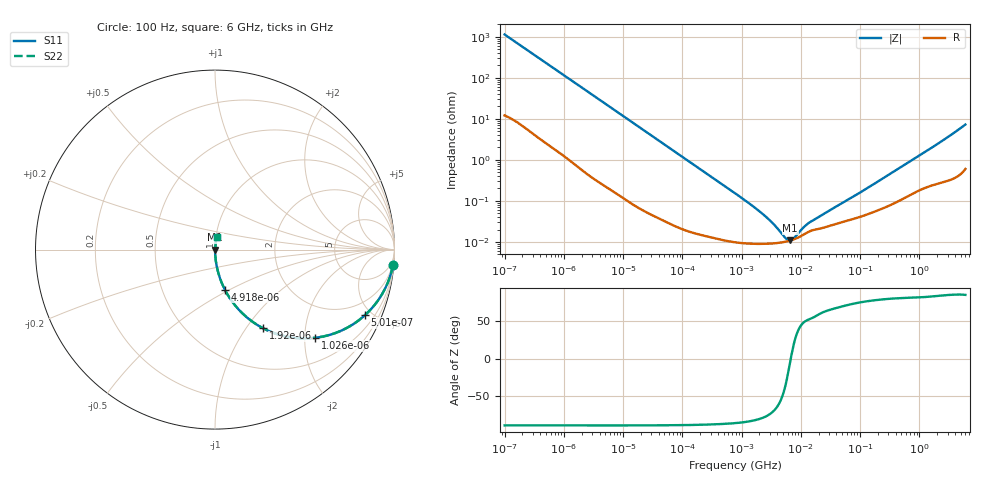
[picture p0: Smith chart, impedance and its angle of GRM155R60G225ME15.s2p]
!Murata Part Number: GRM155R60G225ME15
!These Parameters are Measured in Series Mode Connection
!Data Generated on Mar 30, 2021
!  o--ll--o
!Port1  Port2
!  o------o
!Operation Temp=25[degC], DC Bias Voltage=0[V]
!Freq. Start=100[Hz] Stop=6[GHz] 401[Steps]
# Hz S RI R 50
!Freq.(Hz) S11(Real) S11(Imag) S21(Real) S21(Imag) S12(Real) S12(Imag) S22(Real) S22(Imag)
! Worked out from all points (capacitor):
!   401 points, 100 Hz to 6 GHz, reference 50 ohm
!   read as one part in series: C = 1.4 uF near 109 Hz
!   lowest |Z| = 10.8 mohm at 6.644 MHz (marker M1)
!   series resonance near 6.773 MHz, so ESL is about 390 pH
!   S11 on the Smith chart (normalised r, x): 100 Hz: 1, -23; 501 Hz: 1.05, -4.58; 1.026 kHz: 1.02, -2.25; 1.92 kHz: 1.01, -1.21; 4.918 kHz: 1.00, -0.47; 6 GHz: 1.01, +0.14
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100  0.9913 -0.0875  0.00866 0.0875  0.00866 0.0875  0.9913 -0.0875
268  0.9456 -0.221  0.0544 0.221  0.0544 0.221  0.9456 -0.221
501  0.8371 -0.3638  0.1629 0.3638  0.1629 0.3638  0.8371 -0.3638
1026  0.5577 -0.4913  0.4423 0.4913  0.4423 0.4913  0.5577 -0.4913
1404  0.4051 -0.4858  0.5949 0.4858  0.5949 0.4858  0.4051 -0.4858
1920  0.2688 -0.4385  0.7312 0.4385  0.7312 0.4385  0.2688 -0.4385
2008  0.2518 -0.4292  0.7482 0.4292  0.7482 0.4292  0.2518 -0.4292
3005  0.1322 -0.334  0.8678 0.334  0.8678 0.334  0.1322 -0.334
4918  0.055 -0.2232  0.945 0.2232  0.945 0.2232  0.055 -0.2232
12041  0.0103 -0.0961  0.9897 0.0961  0.9897 0.0961  0.0103 -0.0961
40335  0.00122 -0.0292  0.9988 0.0292  0.9988 0.0292  0.00122 -0.0292
774597  0.0001 -0.00153  0.9999 0.00153  0.9999 0.00153  0.0001 -0.00153
2268635  8.95e-05 -0.000471  0.9999 0.000471  0.9999 0.000471  8.95e-05 -0.000471
3394479  9.17e-05 -0.000265  0.9999 0.000265  0.9999 0.000265  9.17e-05 -0.000265
5554849  0.000101 -6.99e-05  0.9999 6.99e-05  0.9999 6.99e-05  0.000101 -6.99e-05
6644369  0.000108 -6.6e-06  0.9999 6.6e-06  0.9999 6.6e-06  0.000108 -6.6e-06
7599586  0.000115 3.99e-05  0.9999 -3.99e-05  0.9999 -3.99e-05  0.000115 3.99e-05
1.137099e7  0.000153 0.000175  0.9998 -0.000175  0.9998 -0.000175  0.000153 0.000175
1.555665e7  0.000191 0.000265  0.9998 -0.000265  0.9998 -0.000265  0.000191 0.000265
3.124326e8  0.000785 0.00435  0.9992 -0.00435  0.9992 -0.00435  0.000785 0.00435
1.95892e9  0.0031 0.0232  0.9969 -0.0232  0.9969 -0.0232  0.0031 0.0232
6e9  0.011 0.0709  0.989 -0.0709  0.989 -0.0709  0.011 0.0709
